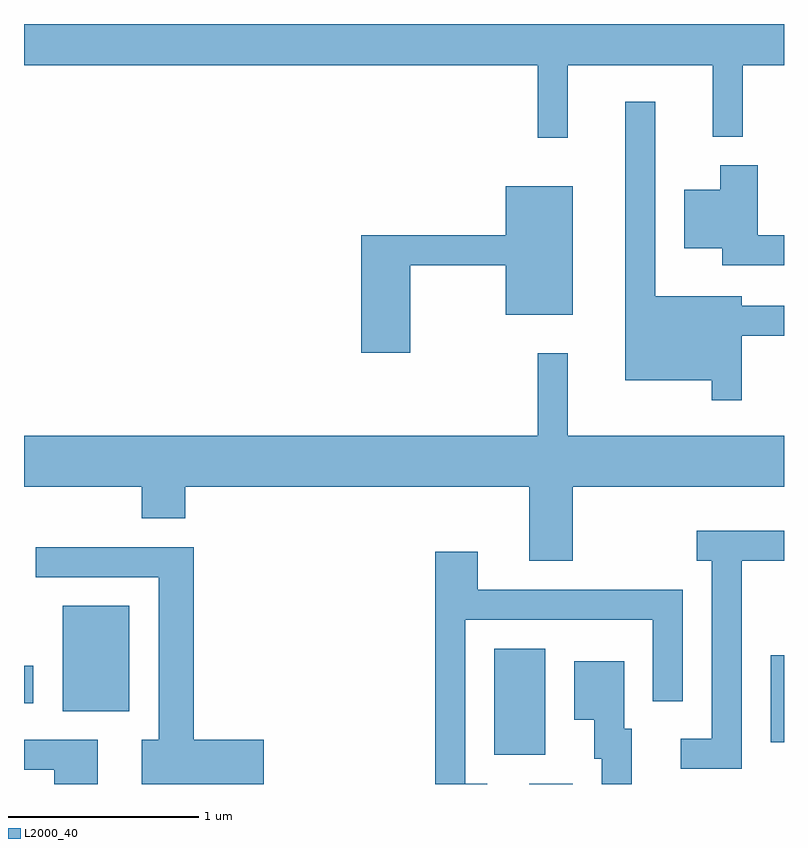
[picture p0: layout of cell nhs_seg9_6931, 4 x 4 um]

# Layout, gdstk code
import gdstk
lib = gdstk.Library(unit=1e-6, precision=1e-09)
def R(c, l, rs):  # rectangles x0, y0, x1, y1
    for r in rs: c.add(gdstk.rectangle(r[:2], r[2:], *l))
def P(c, l, *ps):  # polygons
    for p in ps: c.add(gdstk.Polygon(p, *l))
L2000_40 = (2000, 40)

nhs_seg9_6931 = lib.new_cell('nhs_seg9_6931')
R(nhs_seg9_6931, L2000_40, [(392.271,2032.432,392.499,2032.434), (392.086,2032.586,392.354,2033.144), (393.541,2032.651,393.611,2033.109), (389.816,2032.816,390.164,2033.369), (389.611,2032.856,389.659,2033.054)])
P(nhs_seg9_6931, L2000_40, [(392.474,2036.216),(393.236,2036.216),(393.236,2035.838),(393.394,2035.838),(393.394,2036.216),(393.611,2036.216),(393.611,2036.432),(389.611,2036.432),(389.611,2036.216),(392.316,2036.216),(392.316,2035.833),(392.474,2035.833)],
  [(393.389,2034.791),(393.611,2034.791),(393.611,2034.949),(393.389,2034.949),(393.389,2034.999),(392.934,2034.999),(392.934,2036.023),(392.776,2036.023),(392.776,2034.556),(393.231,2034.556),(393.231,2034.453),(393.389,2034.453)],
  [(393.611,2035.319),(393.474,2035.319),(393.474,2035.689),(393.276,2035.689),(393.276,2035.559),(393.086,2035.559),(393.086,2035.251),(393.286,2035.251),(393.286,2035.161),(393.611,2035.161)],
  [(391.644,2035.161),(392.146,2035.161),(392.146,2034.901),(392.499,2034.901),(392.499,2035.579),(392.146,2035.579),(392.146,2035.319),(391.386,2035.319),(391.386,2034.701),(391.644,2034.701)],
  [(392.499,2033.996),(393.611,2033.996),(393.611,2034.264),(392.474,2034.264),(392.474,2034.698),(392.316,2034.698),(392.316,2034.264),(389.611,2034.264),(389.611,2033.996),(390.231,2033.996),(390.231,2033.831),(390.459,2033.831),(390.459,2033.996),(392.271,2033.996),(392.271,2033.606),(392.499,2033.606)],
  [(393.389,2033.606),(393.611,2033.606),(393.611,2033.764),(393.153,2033.764),(393.153,2033.606),(393.231,2033.606),(393.231,2032.669),(393.068,2032.669),(393.068,2032.511),(393.389,2032.511)],
  [(390.874,2032.664),(390.504,2032.664),(390.504,2033.679),(389.673,2033.679),(389.673,2033.521),(390.321,2033.521),(390.321,2032.664),(390.231,2032.664),(390.231,2032.432),(390.874,2032.432)],
  [(392.048,2032.434),(391.934,2032.434),(391.934,2033.296),(392.921,2033.296),(392.921,2032.868),(393.079,2032.868),(393.079,2033.454),(391.999,2033.454),(391.999,2033.654),(391.776,2033.654),(391.776,2032.432),(392.048,2032.432)],
  [(392.809,2032.724),(392.769,2032.724),(392.769,2033.079),(392.506,2033.079),(392.506,2032.771),(392.611,2032.771),(392.611,2032.566),(392.651,2032.566),(392.651,2032.432),(392.809,2032.432)],
  [(389.999,2032.664),(389.611,2032.664),(389.611,2032.506),(389.771,2032.506),(389.771,2032.432),(389.999,2032.432)])

lib.write_gds('nhs_seg9_6931.gds')
